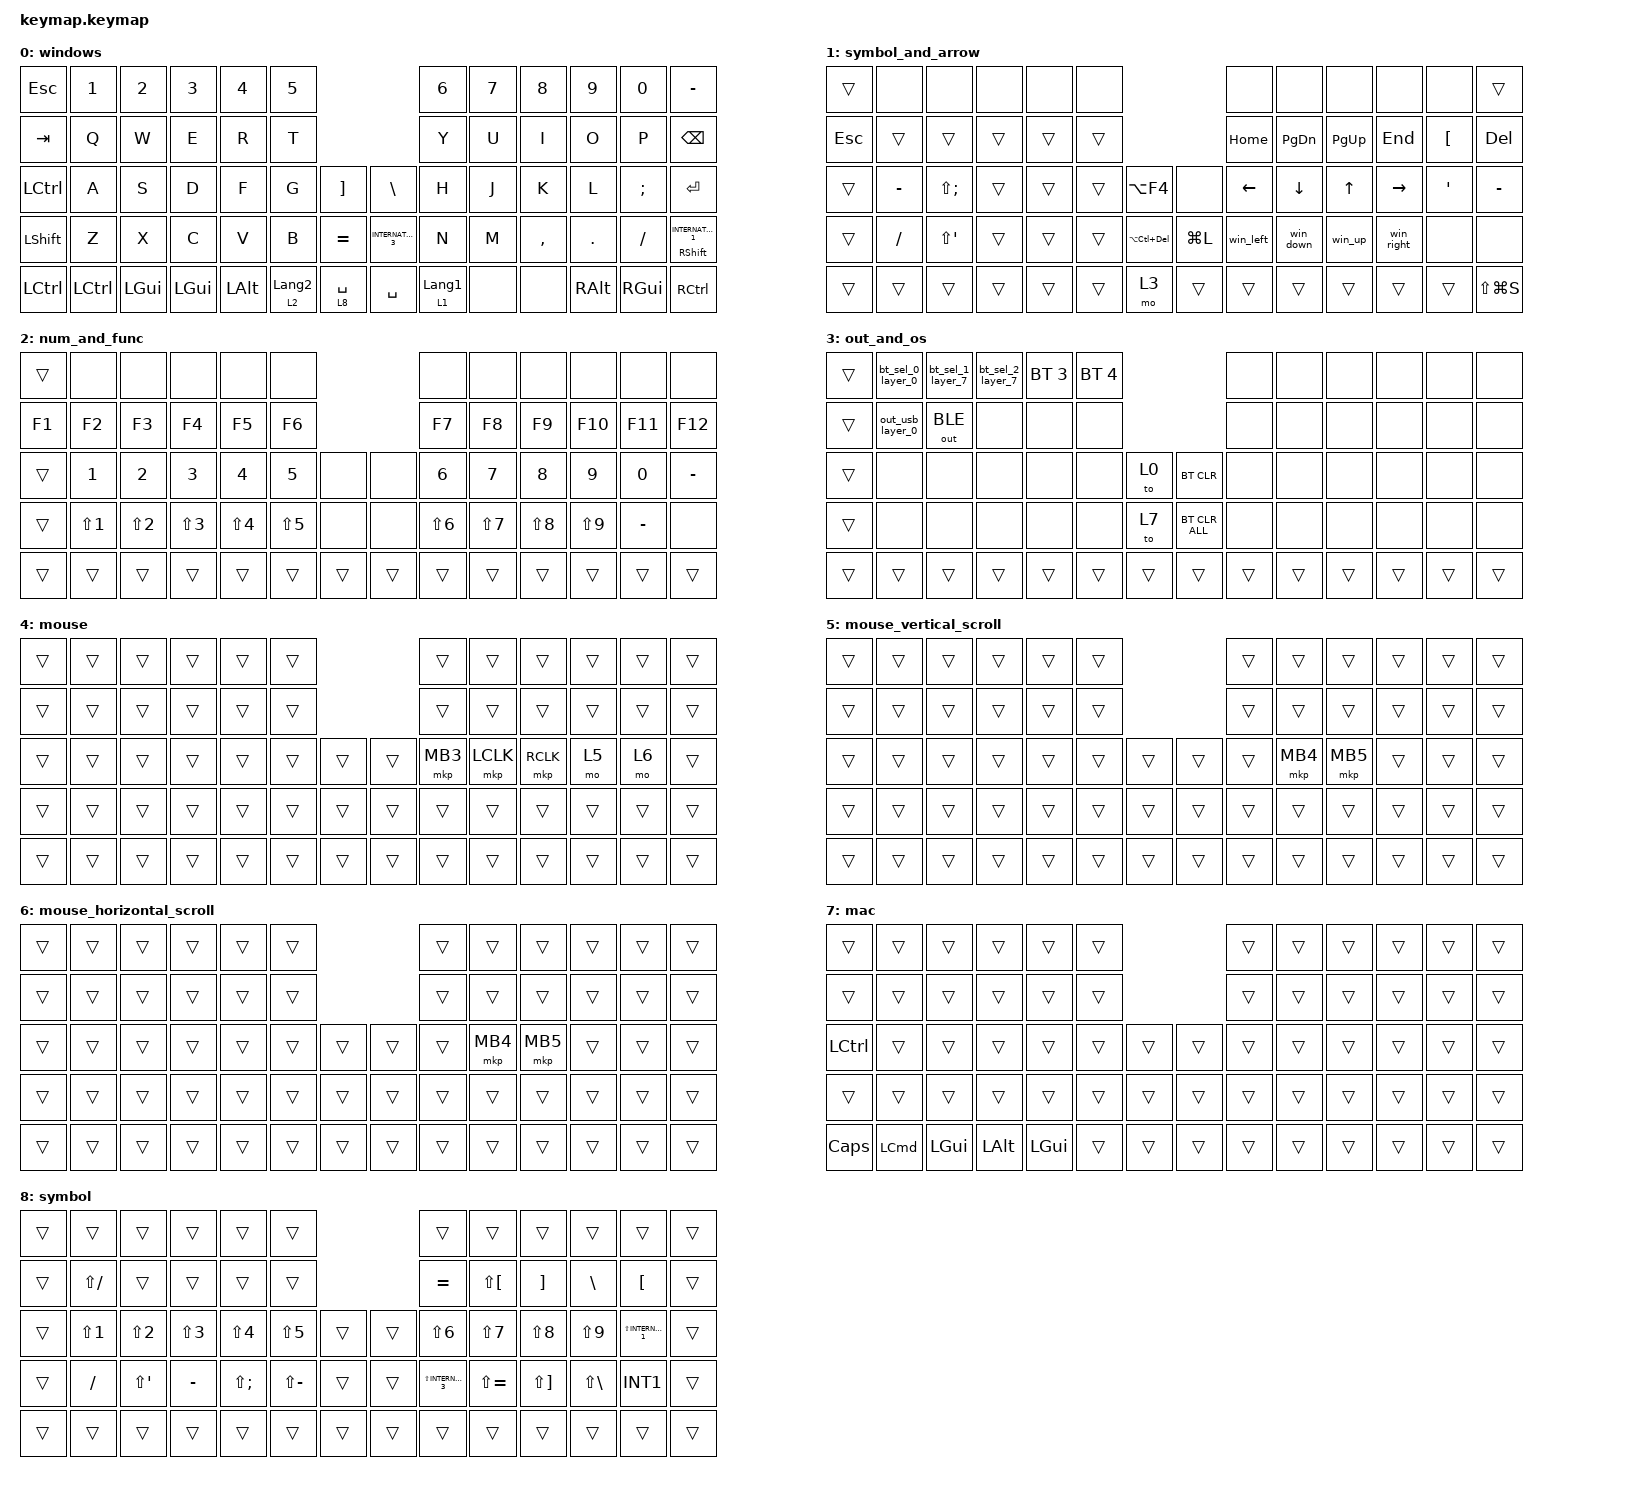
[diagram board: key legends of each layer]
#include <behaviors.dtsi>
#include <dt-bindings/zmk/bt.h>
#include <dt-bindings/zmk/keys.h>
#include <dt-bindings/zmk/outputs.h>
#include <dt-bindings/zmk/pointing.h>

/ {
    combos {
        compatible = "zmk,combos";

        combo_jk_back {
            bindings = <&mkp MB4>;
            key-positions = <33 34>;
            layers = <4>;
        };

        combo_kl_forward {
            bindings = <&mkp MB5>;
            key-positions = <34 35>;
            layers = <4>;
        };
    };

    macros {
        bt_sel_0_layer_0: bt_sel_0_layer_0 {
            compatible = "zmk,behavior-macro";
            #binding-cells = <0>;
            bindings = <&bt BT_SEL 0 &to 0>;
            label = "BT_SEL_0_LAYER_0";
        };

        bt_sel_1_layer_7: bt_sel_1_layer_7 {
            compatible = "zmk,behavior-macro";
            #binding-cells = <0>;
            bindings = <&bt BT_SEL 1 &to 7>;
            label = "BT_SEL_1_LAYER_7";
        };

        out_usb_layer_0: out_usb_layer_0 {
            compatible = "zmk,behavior-macro";
            #binding-cells = <0>;
            bindings = <&out OUT_USB &to 0>;
            label = "OUT_USB_LAYER_0";
        };

        win_left: win_left {
            compatible = "zmk,behavior-macro";
            #binding-cells = <0>;
            wait-ms = <40>;
            tap-ms = <40>;
            bindings =
                <&macro_press>,
                <&kp LGUI>,
                <&macro_tap>,
                <&kp LEFT_ARROW>,
                <&macro_release>,
                <&kp LGUI>;

            label = "WIN_LEFT";
        };

        win_down: win_down {
            compatible = "zmk,behavior-macro";
            #binding-cells = <0>;
            wait-ms = <40>;
            tap-ms = <40>;
            bindings =
                <&macro_press>,
                <&kp LGUI>,
                <&macro_tap>,
                <&kp DOWN_ARROW>,
                <&macro_release>,
                <&kp LGUI>;

            label = "WIN_DOWN";
        };

        win_up: win_up {
            compatible = "zmk,behavior-macro";
            #binding-cells = <0>;
            wait-ms = <40>;
            tap-ms = <40>;
            bindings =
                <&macro_press>,
                <&kp LGUI>,
                <&macro_tap>,
                <&kp UP_ARROW>,
                <&macro_release>,
                <&kp LGUI>;

            label = "WIN_UP";
        };

        win_right: win_right {
            compatible = "zmk,behavior-macro";
            #binding-cells = <0>;
            wait-ms = <40>;
            tap-ms = <40>;
            bindings =
                <&macro_press>,
                <&kp LGUI>,
                <&macro_tap>,
                <&kp RIGHT_ARROW>,
                <&macro_release>,
                <&kp LGUI>;

            label = "WIN_RIGHT";
        };

        bt_sel_2_layer_7: bt_sel_2_layer_7 {
            compatible = "zmk,behavior-macro";
            #binding-cells = <0>;
            bindings = <&bt BT_SEL 2 &to 7>;
            label = "BT_SEL_2_LAYER_7";
        };
    };

    keymap {
        compatible = "zmk,keymap";

        windows {
            bindings = <
&kp ESC    &kp N1            &kp N2    &kp N3        &kp N4    &kp N5                                                    &kp N6            &kp N7  &kp N8     &kp N9         &kp N0         &kp MINUS
&kp TAB    &kp Q             &kp W     &kp E         &kp R     &kp T                                                     &kp Y             &kp U   &kp I      &kp O          &kp P          &kp BACKSPACE
&kp LCTRL  &kp A             &kp S     &kp D         &kp F     &kp G             &kp RIGHT_BRACKET  &kp BACKSLASH        &kp H             &kp J   &kp K      &kp L          &kp SEMI       &kp ENTER
&kp LSHFT  &kp Z             &kp X     &kp C         &kp V     &kp B             &kp EQUAL          &kp INTERNATIONAL_3  &kp N             &kp M   &kp COMMA  &kp DOT        &kp FSLH       &mt RIGHT_SHIFT INTERNATIONAL_1
&kp LCTRL  &kp LEFT_CONTROL  &kp LGUI  &kp LEFT_GUI  &kp LALT  &lt 2 LANGUAGE_2  &lt 8 SPACE        &kp SPACE            &lt 1 LANGUAGE_1  &none   &none      &kp RIGHT_ALT  &kp RIGHT_GUI  &kp RCTRL
            >;
        };

        symbol_and_arrow {
            bindings = <
&trans      &none      &none         &none   &none   &none                               &none           &none          &none         &none            &none             &trans
&kp ESCAPE  &trans     &trans        &trans  &trans  &trans                              &kp HOME        &kp PAGE_DOWN  &kp PG_UP     &kp END          &kp LEFT_BRACKET  &kp DELETE
&trans      &kp MINUS  &kp LS(SEMI)  &trans  &trans  &trans  &kp LA(F4)       &none      &kp LEFT_ARROW  &kp DOWN       &kp UP_ARROW  &kp RIGHT_ARROW  &kp APOS          &kp MINUS
&trans      &kp SLASH  &kp LS(APOS)  &trans  &trans  &trans  &kp LA(LC(DEL))  &kp LG(L)  &win_left       &win_down      &win_up       &win_right       &none             &none
&trans      &trans     &trans        &trans  &trans  &trans  &mo 3            &trans     &trans          &trans         &trans        &trans           &trans            &kp LS(LG(S))
            >;
        };

        num_and_func {
            bindings = <
&trans  &none       &none       &none       &none       &none                       &none       &none       &none       &none       &none      &none
&kp F1  &kp F2      &kp F3      &kp F4      &kp F5      &kp F6                      &kp F7      &kp F8      &kp F9      &kp F10     &kp F11    &kp F12
&trans  &kp N1      &kp N2      &kp N3      &kp N4      &kp N5      &none   &none   &kp N6      &kp N7      &kp N8      &kp N9      &kp N0     &kp MINUS
&trans  &kp LS(N1)  &kp LS(N2)  &kp LS(N3)  &kp LS(N4)  &kp LS(N5)  &none   &none   &kp LS(N6)  &kp LS(N7)  &kp LS(N8)  &kp LS(N9)  &kp MINUS  &none
&trans  &trans      &trans      &trans      &trans      &trans      &trans  &trans  &trans      &trans      &trans      &trans      &trans     &trans
            >;
        };

        out_and_os {
            bindings = <
&trans  &bt_sel_0_layer_0  &bt_sel_1_layer_7  &bt_sel_2_layer_7  &bt BT_SEL 3  &bt BT_SEL 4                          &none   &none   &none   &none   &none   &none
&trans  &out_usb_layer_0   &out OUT_BLE       &none              &none         &none                                 &none   &none   &none   &none   &none   &none
&trans  &none              &none              &none              &none         &none         &to 0   &bt BT_CLR      &none   &none   &none   &none   &none   &none
&trans  &none              &none              &none              &none         &none         &to 7   &bt BT_CLR_ALL  &none   &none   &none   &none   &none   &none
&trans  &trans             &trans             &trans             &trans        &trans        &trans  &trans          &trans  &trans  &trans  &trans  &trans  &trans
            >;
        };

        mouse {
            bindings = <
&trans  &trans  &trans  &trans  &trans  &trans                  &trans    &trans     &trans     &trans  &trans  &trans
&trans  &trans  &trans  &trans  &trans  &trans                  &trans    &trans     &trans     &trans  &trans  &trans
&trans  &trans  &trans  &trans  &trans  &trans  &trans  &trans  &mkp MB3  &mkp LCLK  &mkp RCLK  &mo 5   &mo 6   &trans
&trans  &trans  &trans  &trans  &trans  &trans  &trans  &trans  &trans    &trans     &trans     &trans  &trans  &trans
&trans  &trans  &trans  &trans  &trans  &trans  &trans  &trans  &trans    &trans     &trans     &trans  &trans  &trans
            >;
        };

        mouse_vertical_scroll {
            bindings = <
&trans  &trans  &trans  &trans  &trans  &trans                  &trans  &trans    &trans    &trans  &trans  &trans
&trans  &trans  &trans  &trans  &trans  &trans                  &trans  &trans    &trans    &trans  &trans  &trans
&trans  &trans  &trans  &trans  &trans  &trans  &trans  &trans  &trans  &mkp MB4  &mkp MB5  &trans  &trans  &trans
&trans  &trans  &trans  &trans  &trans  &trans  &trans  &trans  &trans  &trans    &trans    &trans  &trans  &trans
&trans  &trans  &trans  &trans  &trans  &trans  &trans  &trans  &trans  &trans    &trans    &trans  &trans  &trans
            >;
        };

        mouse_horizontal_scroll {
            bindings = <
&trans  &trans  &trans  &trans  &trans  &trans                  &trans  &trans    &trans    &trans  &trans  &trans
&trans  &trans  &trans  &trans  &trans  &trans                  &trans  &trans    &trans    &trans  &trans  &trans
&trans  &trans  &trans  &trans  &trans  &trans  &trans  &trans  &trans  &mkp MB4  &mkp MB5  &trans  &trans  &trans
&trans  &trans  &trans  &trans  &trans  &trans  &trans  &trans  &trans  &trans    &trans    &trans  &trans  &trans
&trans  &trans  &trans  &trans  &trans  &trans  &trans  &trans  &trans  &trans    &trans    &trans  &trans  &trans
            >;
        };

        mac {
            bindings = <
&trans        &trans            &trans        &trans        &trans        &trans                  &trans  &trans  &trans  &trans  &trans  &trans
&trans        &trans            &trans        &trans        &trans        &trans                  &trans  &trans  &trans  &trans  &trans  &trans
&kp LCTRL     &trans            &trans        &trans        &trans        &trans  &trans  &trans  &trans  &trans  &trans  &trans  &trans  &trans
&trans        &trans            &trans        &trans        &trans        &trans  &trans  &trans  &trans  &trans  &trans  &trans  &trans  &trans
&kp CAPSLOCK  &kp LEFT_COMMAND  &kp LEFT_GUI  &kp LEFT_ALT  &kp LEFT_GUI  &trans  &trans  &trans  &trans  &trans  &trans  &trans  &trans  &trans
            >;
        };

        symbol {
            bindings = <
&trans  &trans         &trans        &trans      &trans        &trans                         &trans                   &trans                &trans                 &trans             &trans                   &trans
&trans  &kp LS(SLASH)  &trans        &trans      &trans        &trans                         &kp EQUAL                &kp LS(LEFT_BRACKET)  &kp RIGHT_BRACKET      &kp BACKSLASH      &kp LEFT_BRACKET         &trans
&trans  &kp LS(N1)     &kp LS(N2)    &kp LS(N3)  &kp LS(N4)    &kp LS(N5)     &trans  &trans  &kp LS(N6)               &kp LS(N7)            &kp LS(N8)             &kp LS(N9)         &kp LS(INTERNATIONAL_1)  &trans
&trans  &kp FSLH       &kp LS(APOS)  &kp MINUS   &kp LS(SEMI)  &kp LS(MINUS)  &trans  &trans  &kp LS(INTERNATIONAL_3)  &kp LS(EQUAL)         &kp LS(RIGHT_BRACKET)  &kp LS(BACKSLASH)  &kp INT1                 &trans
&trans  &trans         &trans        &trans      &trans        &trans         &trans  &trans  &trans                   &trans                &trans                 &trans             &trans                   &trans
            >;
        };
    };
};
